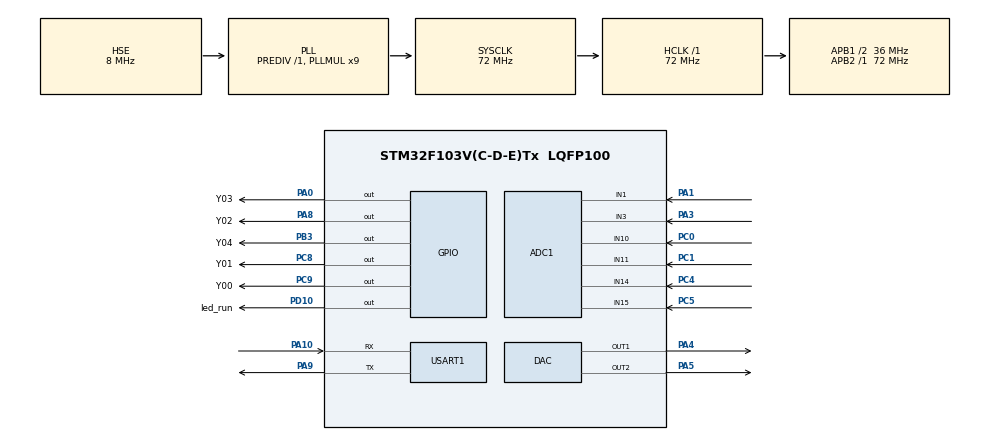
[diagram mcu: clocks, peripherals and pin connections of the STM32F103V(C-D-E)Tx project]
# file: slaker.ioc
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ADC1.Channel-0\#ChannelRegularConversion=ADC_CHANNEL_1
ADC1.Channel-1\#ChannelRegularConversion=ADC_CHANNEL_3
ADC1.Channel-2\#ChannelRegularConversion=ADC_CHANNEL_10
ADC1.Channel-3\#ChannelRegularConversion=ADC_CHANNEL_11
ADC1.Channel-4\#ChannelRegularConversion=ADC_CHANNEL_14
ADC1.Channel-5\#ChannelRegularConversion=ADC_CHANNEL_15
ADC1.ContinuousConvMode=ENABLE
ADC1.DiscontinuousConvMode=DISABLE
ADC1.NbrOfConversion=6
ADC1.NbrOfConversionFlag=1
ADC1.Rank-0\#ChannelRegularConversion=1
ADC1.Rank-1\#ChannelRegularConversion=2
ADC1.Rank-2\#ChannelRegularConversion=3
ADC1.Rank-3\#ChannelRegularConversion=4
ADC1.Rank-4\#ChannelRegularConversion=5
ADC1.Rank-5\#ChannelRegularConversion=6
ADC1.SamplingTime-0\#ChannelRegularConversion=ADC_SAMPLETIME_55CYCLES_5
ADC1.SamplingTime-1\#ChannelRegularConversion=ADC_SAMPLETIME_55CYCLES_5
ADC1.SamplingTime-2\#ChannelRegularConversion=ADC_SAMPLETIME_55CYCLES_5
ADC1.SamplingTime-3\#ChannelRegularConversion=ADC_SAMPLETIME_55CYCLES_5
ADC1.SamplingTime-4\#ChannelRegularConversion=ADC_SAMPLETIME_55CYCLES_5
ADC1.SamplingTime-5\#ChannelRegularConversion=ADC_SAMPLETIME_55CYCLES_5
ADC1.master=1
Dma.ADC1.0.Direction=DMA_PERIPH_TO_MEMORY
Dma.ADC1.0.Instance=DMA1_Channel1
Dma.ADC1.0.MemDataAlignment=DMA_MDATAALIGN_HALFWORD
Dma.ADC1.0.MemInc=DMA_MINC_ENABLE
Dma.ADC1.0.Mode=DMA_CIRCULAR
Dma.ADC1.0.PeriphDataAlignment=DMA_PDATAALIGN_HALFWORD
Dma.ADC1.0.PeriphInc=DMA_PINC_DISABLE
Dma.ADC1.0.Priority=DMA_PRIORITY_LOW
Dma.Request0=ADC1
FREERTOS.Tasks01=defaultTask,0,128,StartDefaultTask,Default,NULL,Dynamic,NULL,NULL;myTask02,0,128,StartTask02,Default,NULL,Dynamic,NULL,NULL
Mcu.Family=STM32F1
Mcu.Name=STM32F103V(C-D-E)Tx
Mcu.Package=LQFP100
NVIC.DMA1_Channel1_IRQn=true\:5\:0\:false\:false\:true\:true\:false
NVIC.PriorityGroup=NVIC_PRIORITYGROUP_4
NVIC.TIM4_IRQn=true\:0\:0\:false\:false\:true\:false\:false
NVIC.TimeBase=TIM4_IRQn
NVIC.TimeBaseIP=TIM4
OSC_IN.Mode=HSE-External-Oscillator
OSC_IN.Signal=RCC_OSC_IN
OSC_OUT.Mode=HSE-External-Oscillator
OSC_OUT.Signal=RCC_OSC_OUT
PA0-WKUP.GPIO_Label=Y03
PA0-WKUP.Signal=GPIO_Output
PA1.Signal=ADCx_IN1
PA10.Mode=Asynchronous
PA10.Signal=USART1_RX
PA13.Mode=Serial_Wire
PA13.Signal=SYS_JTMS-SWDIO
PA14.Mode=Serial_Wire
PA14.Signal=SYS_JTCK-SWCLK
PA3.Signal=ADCx_IN3
PA4.Signal=COMP_DAC1_group
PA5.Signal=COMP_DAC2_group
PA8.GPIO_Label=Y02
PA8.Signal=GPIO_Output
PA9.Mode=Asynchronous
PA9.Signal=USART1_TX
PB3.GPIO_Label=Y04
PB3.Signal=GPIO_Output
PC0.Signal=ADCx_IN10
PC1.Signal=ADCx_IN11
PC4.Signal=ADCx_IN14
PC5.Signal=ADCx_IN15
PC8.GPIO_Label=Y01
PC8.Signal=GPIO_Output
PC9.GPIO_Label=Y00
PC9.Signal=GPIO_Output
PD10.GPIO_Label=led_run
PD10.Signal=GPIO_Output
ProjectManager.HeapSize=0x200
ProjectManager.StackSize=0x400
ProjectManager.TargetToolchain=Other Toolchains (GPDSC)
RCC.ADCPresc=RCC_ADCPCLK2_DIV6
RCC.AHBFreq_Value=72000000
RCC.APB1CLKDivider=RCC_HCLK_DIV2
RCC.APB1Freq_Value=36000000
RCC.APB1TimFreq_Value=72000000
RCC.APB2Freq_Value=72000000
RCC.APB2TimFreq_Value=72000000
RCC.HCLKFreq_Value=72000000
RCC.PLLMUL=RCC_PLL_MUL9
RCC.PLLSourceVirtual=RCC_PLLSOURCE_HSE
RCC.SYSCLKFreq_VALUE=72000000
RCC.SYSCLKSource=RCC_SYSCLKSOURCE_PLLCLK
RCC.USBFreq_Value=72000000
SH.ADCx_IN1.0=ADC1_IN1,IN1
SH.ADCx_IN10.0=ADC1_IN10,IN10
SH.ADCx_IN11.0=ADC1_IN11,IN11
SH.ADCx_IN14.0=ADC1_IN14,IN14
SH.ADCx_IN15.0=ADC1_IN15,IN15
SH.ADCx_IN3.0=ADC1_IN3,IN3
SH.COMP_DAC1_group.0=DAC_OUT1,DAC_OUT1
SH.COMP_DAC2_group.0=DAC_OUT2,DAC_OUT2
USART1.VirtualMode=VM_ASYNC
VP_FREERTOS_VS_ENABLE.Mode=Enabled
VP_IWDG_VS_IWDG.Mode=IWDG_Activate
VP_SYS_VS_tim4.Mode=TIM4
board=slaker

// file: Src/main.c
/**
  ******************************************************************************
  * @file           : main.c
  * @brief          : Main program body
  ******************************************************************************
  * This notice applies to any and all portions of this file
  * that are not between comment pairs USER CODE BEGIN and
  * USER CODE END. Other portions of this file, whether
  * inserted by the user or by software development tools
  * are owned by their respective copyright owners.
  *
  * Copyright (c) 2018 STMicroelectronics International N.V.
  * All rights reserved.
  *
  * Redistribution and use in source and binary forms, with or without
  * modification, are permitted, provided that the following conditions are met:
  *
  * 1. Redistribution of source code must retain the above copyright notice,
  *    this list of conditions and the following disclaimer.
  * 2. Redistributions in binary form must reproduce the above copyright notice,
  *    this list of conditions and the following disclaimer in the documentation
  *    and/or other materials provided with the distribution.
  * 3. Neither the name of STMicroelectronics nor the names of other
  *    contributors to this software may be used to endorse or promote products
  *    derived from this software without specific written permission.
  * 4. This software, including modifications and/or derivative works of this
  *    software, must execute solely and exclusively on microcontroller or
  *    microprocessor devices manufactured by or for STMicroelectronics.
  * 5. Redistribution and use of this software other than as permitted under
  *    this license is void and will automatically terminate your rights under
  *    this license.
  *
  * THIS SOFTWARE IS PROVIDED BY STMICROELECTRONICS AND CONTRIBUTORS "AS IS"
  * AND ANY EXPRESS, IMPLIED OR STATUTORY WARRANTIES, INCLUDING, BUT NOT
  * LIMITED TO, THE IMPLIED WARRANTIES OF MERCHANTABILITY, FITNESS FOR A
  * PARTICULAR PURPOSE AND NON-INFRINGEMENT OF THIRD PARTY INTELLECTUAL PROPERTY
  * RIGHTS ARE DISCLAIMED TO THE FULLEST EXTENT PERMITTED BY LAW. IN NO EVENT
  * SHALL STMICROELECTRONICS OR CONTRIBUTORS BE LIABLE FOR ANY DIRECT, INDIRECT,
  * INCIDENTAL, SPECIAL, EXEMPLARY, OR CONSEQUENTIAL DAMAGES (INCLUDING, BUT NOT
  * LIMITED TO, PROCUREMENT OF SUBSTITUTE GOODS OR SERVICES; LOSS OF USE, DATA,
  * OR PROFITS; OR BUSINESS INTERRUPTION) HOWEVER CAUSED AND ON ANY THEORY OF
  * LIABILITY, WHETHER IN CONTRACT, STRICT LIABILITY, OR TORT (INCLUDING
  * NEGLIGENCE OR OTHERWISE) ARISING IN ANY WAY OUT OF THE USE OF THIS SOFTWARE,
  * EVEN IF ADVISED OF THE POSSIBILITY OF SUCH DAMAGE.
  *
  ******************************************************************************
  */
#include "main.h"
#include "stm32f1xx_hal.h"
#include "cmsis_os.h"
#include "adc.h"
#include "dac.h"
#include "dma.h"
#include "iwdg.h"
#include "usart.h"
#include "gpio.h"

/* USER CODE BEGIN PV */
/* Private variables ---------------------------------------------------------*/

/* USER CODE END PV */

void SystemClock_Config(void);
void MX_FREERTOS_Init(void);

/* USER CODE BEGIN PFP */
/* Private function prototypes -----------------------------------------------*/

/* USER CODE END PFP */

/* USER CODE BEGIN 0 */

unsigned int positiveRotationTime = 120;
unsigned int negativeRotationTime = 120;
unsigned int motorStopTime = 1200;
unsigned int valve1Time = 10;
unsigned int valve2Time = 10;
unsigned int bufferTime = 5;

/* USER CODE END 0 */

int main(void)
{

  /* MCU Configuration----------------------------------------------------------*/

  /* Reset of all peripherals, Initializes the Flash interface and the Systick. */
  HAL_Init();

  /* Configure the system clock */
  SystemClock_Config();

  /* Initialize all configured peripherals */
  MX_GPIO_Init();
  MX_DMA_Init();
  MX_ADC1_Init();
  MX_USART1_UART_Init();
  MX_DAC_Init();
  MX_IWDG_Init();
  /* USER CODE BEGIN 2 */

  HAL_ADCEx_Calibration_Start(&hadc1);
  HAL_ADC_Start_DMA(&hadc1, (uint32_t *)ADC_ConvertedValue, 6);
  HAL_DAC_Start(&hdac, DAC_CHANNEL_1);
  HAL_DAC_Start(&hdac, DAC_CHANNEL_2);

  HAL_DAC_SetValue(&hdac, DAC_CHANNEL_1, DAC_ALIGN_12B_R, 4095);//10V
  HAL_DAC_SetValue(&hdac, DAC_CHANNEL_2, DAC_ALIGN_12B_R, 4095);//10V
  /* USER CODE END 2 */

  /* Call init function for freertos objects (in freertos.c) */
  MX_FREERTOS_Init();

  /* Start scheduler */
  osKernelStart();

  /* We should never get here as control is now taken by the scheduler */

  /* Infinite loop */
  while (1)
  {

  }

}

void SystemClock_Config(void)
{

  RCC_OscInitTypeDef RCC_OscInitStruct;
  RCC_ClkInitTypeDef RCC_ClkInitStruct;
  RCC_PeriphCLKInitTypeDef PeriphClkInit;

    /**Initializes the CPU, AHB and APB busses clocks
    */
  RCC_OscInitStruct.OscillatorType = RCC_OSCILLATORTYPE_LSI|RCC_OSCILLATORTYPE_HSE;
  RCC_OscInitStruct.HSEState = RCC_HSE_ON;
  RCC_OscInitStruct.HSEPredivValue = RCC_HSE_PREDIV_DIV1;
  RCC_OscInitStruct.HSIState = RCC_HSI_ON;
  RCC_OscInitStruct.LSIState = RCC_LSI_ON;
  RCC_OscInitStruct.PLL.PLLState = RCC_PLL_ON;
  RCC_OscInitStruct.PLL.PLLSource = RCC_PLLSOURCE_HSE;
  RCC_OscInitStruct.PLL.PLLMUL = RCC_PLL_MUL9;
  if (HAL_RCC_OscConfig(&RCC_OscInitStruct) != HAL_OK)
  {
    _Error_Handler(__FILE__, __LINE__);
  }

    /**Initializes the CPU, AHB and APB busses clocks
    */
  RCC_ClkInitStruct.ClockType = RCC_CLOCKTYPE_HCLK|RCC_CLOCKTYPE_SYSCLK
                              |RCC_CLOCKTYPE_PCLK1|RCC_CLOCKTYPE_PCLK2;
  RCC_ClkInitStruct.SYSCLKSource = RCC_SYSCLKSOURCE_PLLCLK;
  RCC_ClkInitStruct.AHBCLKDivider = RCC_SYSCLK_DIV1;
  RCC_ClkInitStruct.APB1CLKDivider = RCC_HCLK_DIV2;
  RCC_ClkInitStruct.APB2CLKDivider = RCC_HCLK_DIV1;

  if (HAL_RCC_ClockConfig(&RCC_ClkInitStruct, FLASH_LATENCY_2) != HAL_OK)
  {
    _Error_Handler(__FILE__, __LINE__);
  }

  PeriphClkInit.PeriphClockSelection = RCC_PERIPHCLK_ADC;
  PeriphClkInit.AdcClockSelection = RCC_ADCPCLK2_DIV6;
  if (HAL_RCCEx_PeriphCLKConfig(&PeriphClkInit) != HAL_OK)
  {
    _Error_Handler(__FILE__, __LINE__);
  }

    /**Configure the Systick interrupt time
    */
  HAL_SYSTICK_Config(HAL_RCC_GetHCLKFreq()/1000);

    /**Configure the Systick
    */
  HAL_SYSTICK_CLKSourceConfig(SYSTICK_CLKSOURCE_HCLK);

  /* SysTick_IRQn interrupt configuration */
  HAL_NVIC_SetPriority(SysTick_IRQn, 15, 0);
}

/* USER CODE BEGIN 4 */
void adcCollect() {

	uint16_t adcTemp[6];

	for (uint8_t i = 0; i < 100; i++)
	{
		for (uint8_t j = 0; j < 6; j++) {
			ADC_Average[j] += ADC_ConvertedValue[j];
		}
	}

	for (uint8_t i = 0; i < 6; i++)
	{

		adcTemp[i] = (uint16_t)(ADC_Average[i] / 100 * 1000 / 3971);
		ADC_Average[i] = 0;
		//printf("%d  ", adcTemp[i]);
	}

	positiveRotationTime = adcTemp[0] * 0.18 + 120;
	negativeRotationTime = adcTemp[1] * 0.18 + 120;
	motorStopTime = adcTemp[4] * 1.2 + 1200;
	//motorStopTime = adcTemp[4] * 0.12 + 120;		//ʱ����С10�������ڲ���
	valve1Time = adcTemp[5] * 0.02 + 10;
	valve2Time = adcTemp[2] * 0.11 + 10;

	printf("positiveRotationTime = %d\n", positiveRotationTime);
	printf("negativeRotationTime = %d\n", negativeRotationTime);
	printf("motorStopTime = %d\n", motorStopTime);
	printf("valve1Time = %d\n", valve1Time);
	printf("valve2Time = %d\n", valve2Time);

	printf("\n");

}

/* USER CODE END 4 */

void HAL_TIM_PeriodElapsedCallback(TIM_HandleTypeDef *htim)
{
  if (htim->Instance == TIM4) {
    HAL_IncTick();
  }
}

void _Error_Handler(char *file, int line)
{
  while(1)
  {
  }
}

/************************ (C) COPYRIGHT STMicroelectronics *****END OF FILE****/

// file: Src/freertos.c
/**
  ******************************************************************************
  * File Name          : freertos.c
  * Description        : Code for freertos applications
  ******************************************************************************
  * This notice applies to any and all portions of this file
  * that are not between comment pairs USER CODE BEGIN and
  * USER CODE END. Other portions of this file, whether
  * inserted by the user or by software development tools
  * are owned by their respective copyright owners.
  *
  * Copyright (c) 2018 STMicroelectronics International N.V.
  * All rights reserved.
  *
  * Redistribution and use in source and binary forms, with or without
  * modification, are permitted, provided that the following conditions are met:
  *
  * 1. Redistribution of source code must retain the above copyright notice,
  *    this list of conditions and the following disclaimer.
  * 2. Redistributions in binary form must reproduce the above copyright notice,
  *    this list of conditions and the following disclaimer in the documentation
  *    and/or other materials provided with the distribution.
  * 3. Neither the name of STMicroelectronics nor the names of other
  *    contributors to this software may be used to endorse or promote products
  *    derived from this software without specific written permission.
  * 4. This software, including modifications and/or derivative works of this
  *    software, must execute solely and exclusively on microcontroller or
  *    microprocessor devices manufactured by or for STMicroelectronics.
  * 5. Redistribution and use of this software other than as permitted under
  *    this license is void and will automatically terminate your rights under
  *    this license.
  *
  * THIS SOFTWARE IS PROVIDED BY STMICROELECTRONICS AND CONTRIBUTORS "AS IS"
  * AND ANY EXPRESS, IMPLIED OR STATUTORY WARRANTIES, INCLUDING, BUT NOT
  * LIMITED TO, THE IMPLIED WARRANTIES OF MERCHANTABILITY, FITNESS FOR A
  * PARTICULAR PURPOSE AND NON-INFRINGEMENT OF THIRD PARTY INTELLECTUAL PROPERTY
  * RIGHTS ARE DISCLAIMED TO THE FULLEST EXTENT PERMITTED BY LAW. IN NO EVENT
  * SHALL STMICROELECTRONICS OR CONTRIBUTORS BE LIABLE FOR ANY DIRECT, INDIRECT,
  * INCIDENTAL, SPECIAL, EXEMPLARY, OR CONSEQUENTIAL DAMAGES (INCLUDING, BUT NOT
  * LIMITED TO, PROCUREMENT OF SUBSTITUTE GOODS OR SERVICES; LOSS OF USE, DATA,
  * OR PROFITS; OR BUSINESS INTERRUPTION) HOWEVER CAUSED AND ON ANY THEORY OF
  * LIABILITY, WHETHER IN CONTRACT, STRICT LIABILITY, OR TORT (INCLUDING
  * NEGLIGENCE OR OTHERWISE) ARISING IN ANY WAY OUT OF THE USE OF THIS SOFTWARE,
  * EVEN IF ADVISED OF THE POSSIBILITY OF SUCH DAMAGE.
  *
  ******************************************************************************
  */

#include "FreeRTOS.h"
#include "task.h"
#include "cmsis_os.h"

/* USER CODE BEGIN Includes */
#include "iwdg.h"
/* USER CODE END Includes */

osThreadId defaultTaskHandle;
osThreadId myTask02Handle;

/* USER CODE BEGIN Variables */

#define positiveRotationOpen  HAL_GPIO_WritePin(Y00_GPIO_Port, Y00_Pin, GPIO_PIN_SET);
#define positiveRotationClose  HAL_GPIO_WritePin(Y00_GPIO_Port, Y00_Pin, GPIO_PIN_RESET);

#define negativeRotationOpen  HAL_GPIO_WritePin(Y01_GPIO_Port, Y01_Pin, GPIO_PIN_SET);
#define negativeRotationClose  HAL_GPIO_WritePin(Y01_GPIO_Port, Y01_Pin, GPIO_PIN_RESET);

#define valve1Open  HAL_GPIO_WritePin(Y02_GPIO_Port, Y02_Pin, GPIO_PIN_SET);
#define valve1Close  HAL_GPIO_WritePin(Y02_GPIO_Port, Y02_Pin, GPIO_PIN_RESET);

#define valve2Open  HAL_GPIO_WritePin(Y03_GPIO_Port, Y03_Pin, GPIO_PIN_SET);
#define valve2Close  HAL_GPIO_WritePin(Y03_GPIO_Port, Y03_Pin, GPIO_PIN_RESET);

/* USER CODE END Variables */

void StartDefaultTask(void const * argument);
void StartTask02(void const * argument);

void MX_FREERTOS_Init(void); /* (MISRA C 2004 rule 8.1) */

/* USER CODE BEGIN FunctionPrototypes */
static void osDelaySecond(uint16_t count);
/* USER CODE END FunctionPrototypes */

/* Hook prototypes */

/* Init FreeRTOS */

void MX_FREERTOS_Init(void) {

  /* Create the thread(s) */
  /* definition and creation of defaultTask */
  osThreadDef(defaultTask, StartDefaultTask, osPriorityNormal, 0, 128);
  defaultTaskHandle = osThreadCreate(osThread(defaultTask), NULL);

  /* definition and creation of myTask02 */
  osThreadDef(myTask02, StartTask02, osPriorityNormal, 0, 128);
  myTask02Handle = osThreadCreate(osThread(myTask02), NULL);

}

/* StartDefaultTask function */
void StartDefaultTask(void const * argument)
{

  /* USER CODE BEGIN StartDefaultTask */
  /* Infinite loop */
	osDelay(5000);

  for(;;)
  {
	  valve1Open;
	  osDelaySecond(valve1Time);
	  valve1Close;
	  osDelaySecond(1);
	  positiveRotationOpen;
	  osDelaySecond(positiveRotationTime);
	  positiveRotationClose;
	  osDelaySecond(bufferTime);
	  negativeRotationOpen;
	  osDelaySecond(negativeRotationTime);
	  negativeRotationClose;
	  osDelaySecond(motorStopTime);
	  valve2Open;
	  osDelaySecond(valve2Time);
	  valve2Close;
	  osDelaySecond(bufferTime);
  }
  /* USER CODE END StartDefaultTask */
}

/* StartTask02 function */
void StartTask02(void const * argument)
{
  /* USER CODE BEGIN StartTask02 */
  /* Infinite loop */
  for(;;)
  {
	HAL_IWDG_Refresh(&hiwdg);
	adcCollect();
	HAL_GPIO_TogglePin(led_run_GPIO_Port, led_run_Pin);
    osDelay(100);
  }
  /* USER CODE END StartTask02 */
}

/* USER CODE BEGIN Application */

static void osDelaySecond(uint16_t count)
{
	for (size_t i = 0; i < count; i++)
	{
		osDelay(1000);
	}
}

/* USER CODE END Application */

/************************ (C) COPYRIGHT STMicroelectronics *****END OF FILE****/
